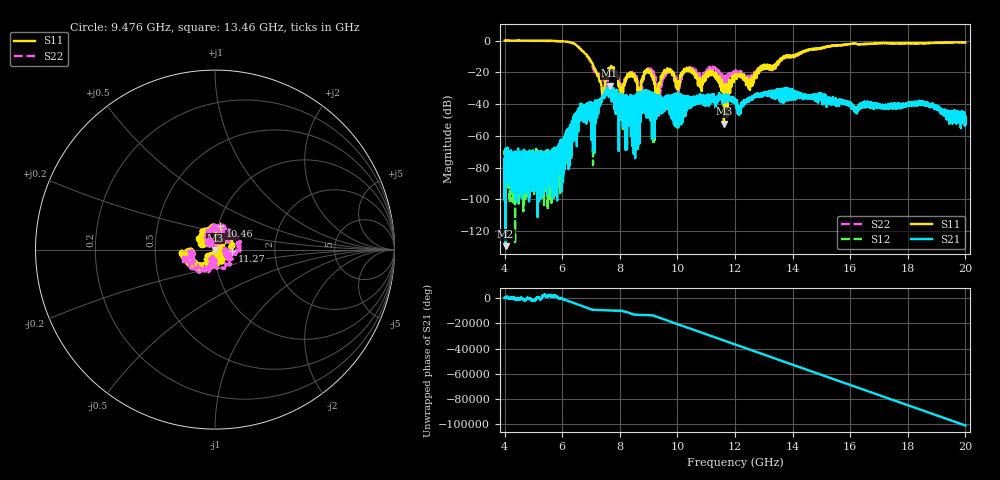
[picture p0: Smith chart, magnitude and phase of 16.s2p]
[Version] 2.0
! Rohde & Schwarz Vector Network Analyzer
! Rohde-Schwarz,ZNL20-2Port,1323001220200009,1.71.1.10-23.02.1.238
! Port Assignments:
! Nominal Port -> Actual Test Port
!  1 -> 1
!  2 -> 2
! Created: GMT+2 2025-01-16 20:26:03
# Hz S RI R 50
[Number of Ports] 2
[Two-Port Data Order] 21_12
! freq[Hz]  S11[Re]  S11[Im]  S21[Re]  S21[Im]  S12[Re]  S12[Im]  S22[Re]  S22[Im]
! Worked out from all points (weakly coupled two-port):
!   16001 points, 4 GHz to 20 GHz, reference 50 ohm
!   highest |S21| = -28.45 dB at 7.647 GHz (marker M1); lowest = -129.4 dB at 4.031 GHz (marker M2)
!   lowest |S11| = -52.4 dB at 11.62 GHz (marker M3), VSWR 1.00, Z = 50.1 - j0.224 ohm
!   |S11| at or under -10 dB: 6.886 GHz to 13.7 GHz (6.815 GHz wide, 66.2 % of centre); 13.71497 GHz to 13.74365 GHz (28.68 MHz wide, 0.209 % of centre); 13.94353 GHz to 13.96729 GHz (23.76 MHz wide, 0.17 % of centre) (the widest 3 of 9)
!   |S22| runs from -48.7 to 0.0 dB; largest |S21 - S12| = 0.0023
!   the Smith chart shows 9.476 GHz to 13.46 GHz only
!   S11 on the Smith chart (normalised r, x): 9.476 GHz: 0.86, +0.06; 10.46 GHz: 1.02, +0.27; 11.27 GHz: 1.21, -0.01; 13.46 GHz: 0.71, -0.04
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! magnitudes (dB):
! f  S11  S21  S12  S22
! 4 GHz  0.0  -80.9  -78.8  -0.2
! 4.031 GHz  0.0  -129.4  -84.3  -0.1
! 5.765 GHz  -0.3  -70.4  -74.1  -0.5
! 6.667 GHz  -6.0  -40.9  -40.3  -6.0
! 7.405 GHz  -32.7  -34.6  -34.8  -22.7
! 7.647 GHz  -17.5  -28.4  -28.5  -19.9
! 8.044 GHz  -38.3  -35.8  -35.9  -30.6
! 8.43 GHz  -22.8  -41.9  -42.1  -21.6
! 8.718 GHz  -34.4  -40.2  -39.9  -38.3
! 9.006 GHz  -20.4  -34.4  -34.4  -18.8
! 9.334 GHz  -28.2  -34.4  -34.4  -32.0
! 9.476 GHz  -21.7  -36.2  -36.1  -25.3
! 9.764 GHz  -19.6  -35.0  -35.0  -19.8
! 10.01 GHz  -26.0  -33.5  -33.5  -27.2
! 10.46 GHz  -17.6  -38.6  -38.5  -16.9
! 11.27 GHz  -20.5  -36.0  -36.1  -17.6
! 11.62 GHz  -52.4  -35.3  -35.3  -24.2
! 12 GHz  -21.8  -39.4  -39.4  -19.1
! 13.46 GHz  -15.2  -30.7  -30.6  -15.3
! 14.67 GHz  -5.5  -34.5  -34.3  -5.8
! 17.33 GHz  -1.8  -40.5  -40.4  -1.8
! 20 GHz  -1.2  -50.0  -49.3  -1.1
